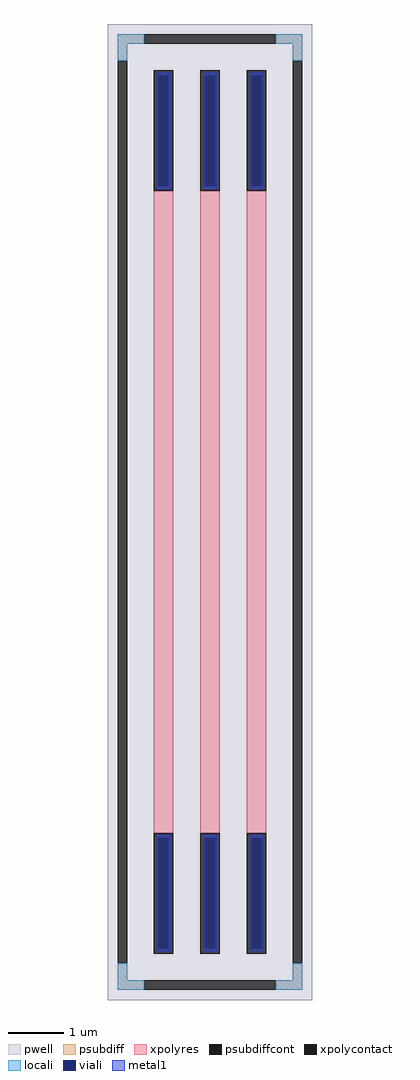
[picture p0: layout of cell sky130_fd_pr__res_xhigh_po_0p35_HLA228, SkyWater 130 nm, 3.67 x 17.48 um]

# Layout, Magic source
magic
tech sky130A
magscale 1 2
<< pwell >>
rect -367 -1748 367 1748
<< psubdiff >>
rect -331 1678 -235 1712
rect 235 1678 331 1712
rect -331 1616 -297 1678
rect 297 1616 331 1678
rect -331 -1678 -297 -1616
rect 297 -1678 331 -1616
rect -331 -1712 -235 -1678
rect 235 -1712 331 -1678
<< psubdiffcont >>
rect -235 1678 235 1712
rect -331 -1616 -297 1616
rect 297 -1616 331 1616
rect -235 -1712 235 -1678
<< xpolycontact >>
rect -201 1150 -131 1582
rect -201 -1582 -131 -1150
rect -35 1150 35 1582
rect -35 -1582 35 -1150
rect 131 1150 201 1582
rect 131 -1582 201 -1150
<< xpolyres >>
rect -201 -1150 -131 1150
rect -35 -1150 35 1150
rect 131 -1150 201 1150
<< locali >>
rect -331 1678 -235 1712
rect 235 1678 331 1712
rect -331 1616 -297 1678
rect 297 1616 331 1678
rect -331 -1678 -297 -1616
rect 297 -1678 331 -1616
rect -331 -1712 -235 -1678
rect 235 -1712 331 -1678
<< viali >>
rect -185 1167 -147 1564
rect -19 1167 19 1564
rect 147 1167 185 1564
rect -185 -1564 -147 -1167
rect -19 -1564 19 -1167
rect 147 -1564 185 -1167
<< metal1 >>
rect -191 1564 -141 1576
rect -191 1167 -185 1564
rect -147 1167 -141 1564
rect -191 1155 -141 1167
rect -25 1564 25 1576
rect -25 1167 -19 1564
rect 19 1167 25 1564
rect -25 1155 25 1167
rect 141 1564 191 1576
rect 141 1167 147 1564
rect 185 1167 191 1564
rect 141 1155 191 1167
rect -191 -1167 -141 -1155
rect -191 -1564 -185 -1167
rect -147 -1564 -141 -1167
rect -191 -1576 -141 -1564
rect -25 -1167 25 -1155
rect -25 -1564 -19 -1167
rect 19 -1564 25 -1167
rect -25 -1576 25 -1564
rect 141 -1167 191 -1155
rect 141 -1564 147 -1167
rect 185 -1564 191 -1167
rect 141 -1576 191 -1564
<< properties >>
string FIXED_BBOX -314 -1695 314 1695
string gencell sky130_fd_pr__res_xhigh_po_0p35
string library sky130
string parameters w 0.350 l 11.66 m 1 nx 3 wmin 0.350 lmin 0.50 rho 2000 val 67.704k dummy 0 dw 0.0 term 188.2 sterm 0.0 caplen 0 wmax 0.350 guard 1 glc 1 grc 1 gtc 1 gbc 1 compatible {sky130_fd_pr__res_xhigh_po_0p35  sky130_fd_pr__res_xhigh_po_0p69 sky130_fd_pr__res_xhigh_po_1p41  sky130_fd_pr__res_xhigh_po_2p85 sky130_fd_pr__res_xhigh_po_5p73} snake 0 full_metal 1 n_guard 0 hv_guard 0 vias 1 viagb 0 viagt 0 viagl 0 viagr 0
<< end >>
